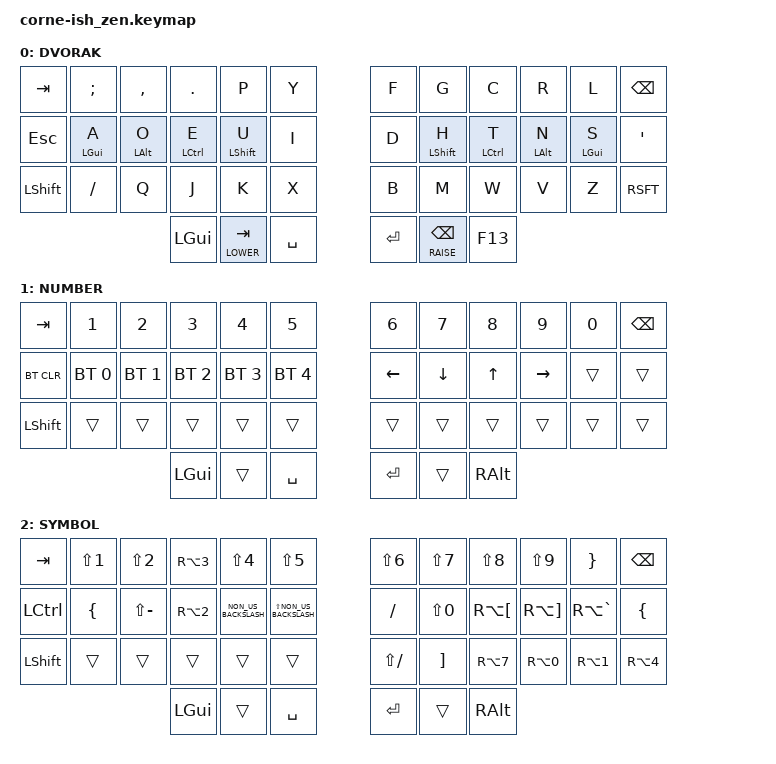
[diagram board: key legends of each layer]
/*
*
* Copyright (c) 2021 Darryl deHaan
* SPDX-License-Identifier: MIT
*
*/

#include <behaviors.dtsi>
#include <dt-bindings/zmk/keys.h>
#include <dt-bindings/zmk/bt.h>

#define QWERTY 0
#define LOWER  1
#define RAISE  2

/ {
  chosen {
    zmk,matrix_transform = &default_transform;
    //zmk,matrix_transform = &five_column_transform;
  };
};

/ {
  behaviors {     
        hm: homerow_mods {         
            compatible = "zmk,behavior-hold-tap";         
            label = "HOMEROW_MODS";     
            #binding-cells = <2>;   
            tapping-term-ms = <300>;
            quick_tap_ms = <125>;        
            flavor = "balanced";  
            bindings = <&kp>, <&kp>;    
        }; 
    };

        keymap {
                compatible = "zmk,keymap";

                default_layer {
                        label = "DVORAK";
                        bindings = <
   &kp TAB   &kp SEMI      &kp CMMA       &kp DOT      &kp P           &kp Y      &kp F    &kp G           &kp C      &kp R       &kp L         &kp BKSP
   &kp ESC  &hm LGUI A &hm LALT O &hm LCTL E &hm LSHFT U    &kp I      &kp D    &hm LSHFT H     &hm LCTL T &hm LALT N &hm LGUI S  &kp QUOT
   &kp LSHFT &kp FSLH      &kp Q       &kp J      &kp K          &kp X      &kp B    &kp M           &kp W   &kp V     &kp Z      &kp RSFT
                                    &kp LGUI   &lt LOWER TAB  &kp SPACE    &kp ENTER &lt RAISE BKSP &kp F13
                        >;
                    };
                lower_layer {
                        label = "NUMBER";
// -----------------------------------------------------------------------------------------
// |  TAB |  1  |  2  |  3  |  4  |  5  |   |  6  |  7  |  8  |  9  |  0  | BKSP |
// | BTCLR| BT1 | BT2 | BT3 | BT4 | BT5 |   | LFT | DWN |  UP | RGT |     |      |
// | SHFT |     |     |     |     |     |   |     |     |     |     |     |      |
//                    | GUI |     | SPC |   | ENT |     | ALT |
                        bindings = <
   &kp TAB    &kp N1       &kp N2       &kp N3       &kp N4       &kp N5         &kp N6   &kp N7   &kp N8 &kp N9    &kp N0 &kp BSPC
   &bt BT_CLR &bt BT_SEL 0 &bt BT_SEL 1 &bt BT_SEL 2 &bt BT_SEL 3 &bt BT_SEL 4   &kp LEFT &kp DOWN &kp UP &kp RIGHT &trans &trans
   &kp LSHFT  &trans       &trans       &trans       &trans       &trans         &trans   &trans   &trans &trans    &trans &trans
                          	        &kp LGUI     &trans       &kp SPACE      &kp RET  &trans   &kp RALT
                        >;
                };

                raise_layer {
                        label = "SYMBOL";
// -----------------------------------------------------------------------------------------
// |  TAB |  !  |  @  |  #  |  $  |  %  |   |  ^  |  &  |  *  |  (  |  )  | BKSP |
// | CTRL |     |     |     | <   |  >  |   |  -  |  =  |  [  |  ]  |  \  |  `   |
// | SHFT |     |     |     |     |     |   |  _  |  +  |  {  |  }  | "|" |  ~   |
//                    | GUI |     | SPC |   | ENT |     | ALT |
                        bindings = <
   &kp  TAB   &kp LS(N1)  &kp LS(N2)  &kp RA(N3) &kp LS(N4)    &kp LS(N5)  &kp LS(N6)  &kp LS(N7)  &kp LS(N8) &kp LS(N9)  &kp RBRC &kp BSPC
   &kp LCTRL &kp LBRC   &kp LS(MINUS) &kp RA(N2)   &kp NON_US_BACKSLASH   &kp LS(NON_US_BACKSLASH)      &kp SLASH &kp LS(N0) &kp RA(LBKT)   &kp RA(RBKT) &kp RA(GRAVE) &kp LBRC
      &kp LSHFT &trans   &trans &trans   &trans   &trans      &kp LS(SLASH) &kp RBKT  &kp RA(N7)   &kp RA(N0)  &kp RA(N1)  &kp RA(N4)
                    	     &kp LGUI &trans   &kp SPACE   &kp RET   &trans    &kp RALT
                        >;
                };
        };
};
